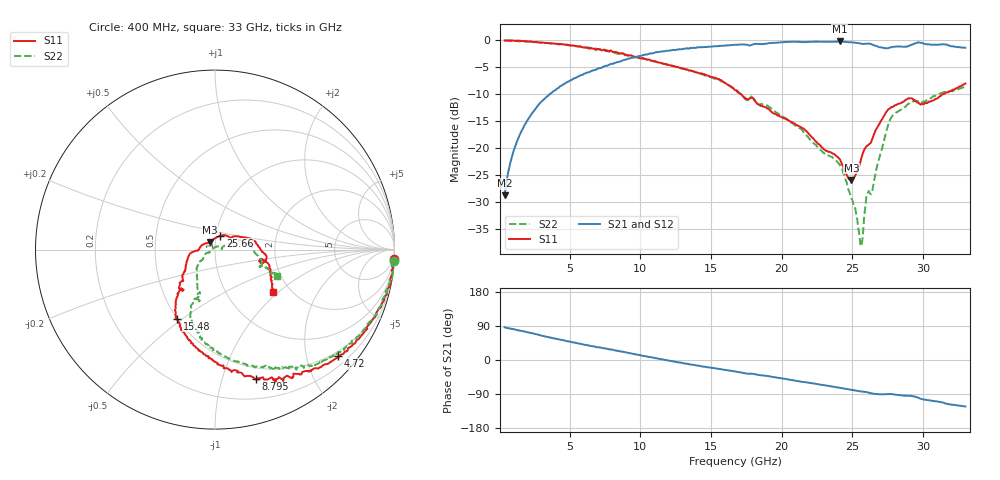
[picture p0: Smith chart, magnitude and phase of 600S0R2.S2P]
!  American Technical Ceramics  Date:  4/26/2005
!  One Norden Lane
!  Huntington Station,  NY.  11746-2102
!  Tel:  (631) 622-4700  Fax:  (631) 622-4748
!  Part Number  600S0R2  Mounting Orientation: Horizontal
!  Description: Ultra Low ESR Microwave capacitors
!  Application: Coupling, Bypass, Tuning, DC Block
!  Filters, Matching
# GHZ S DB R 50
! Freq  |S11|  S11 Ph  |S21|  S21 Ph  |S12|  S12 Ph  |S22|  S22 Ph
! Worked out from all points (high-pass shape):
!   401 points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, 400 MHz to 33 GHz, reference 50 ohm
!   highest |S21| = -0.19 dB at 24.12 GHz (marker M1); lowest = -28.7 dB at 400 MHz (marker M2)
!   |S21| within 3 dB of the highest: 9.488 GHz to end of sweep
!   lowest |S11| = -25.9 dB at 24.93 GHz (marker M3), VSWR 1.11, Z = 47.1 + j3.99 ohm
!   |S11| at or under -10 dB: 17.14 GHz to 31.39 GHz (14.25 GHz wide, 58.7 % of centre)
!   |S22| runs from -38.2 to 0.0 dB; largest |S21 - S12| = 0.016
!   S11 on the Smith chart (normalised r, x): 400 MHz: 1, -36; 4.72 GHz: 0.39, -2.64; 8.795 GHz: 0.38, -1.29; 15.48 GHz: 0.50, -0.48; 25.66 GHz: 1.05, +0.16; 33 GHz: 1.63, -0.91
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0.4  -0.01 -3.1  -28.74 86.4  -28.65 86.2  -0.01 -3.5
1.052  -0.02 -7.8  -20.38 81.0  -20.33 79.7  -0.05 -10.4
1.867  -0.16 -15.2  -15.50 74.8  -15.52 73.4  -0.23 -16.3
3.008  -0.45 -27.3  -11.35 64.0  -11.35 63.5  -0.37 -24.2
4.72  -0.84 -40.8  -7.94 50.2  -7.93 50.5  -0.85 -37.4
5.861  -1.23 -49.6  -6.42 42.1  -6.39 42.3  -1.19 -44.6
8.795  -2.42 -72.7  -3.70 21.6  -3.74 21.2  -2.48 -63.5
11.321  -4.09 -90.4  -2.12 3.2  -2.07 3.5  -4.06 -80.7
15.478  -7.17 -118.8  -1.06 -23.0  -1.08 -22.9  -7.23 -106.2
16.7  -9.23 -128.1  -0.82 -30.3  -0.79 -30.0  -8.94 -112.5
22.161  -18.03 -174.0  -0.22 -61.3  -0.19 -61.5  -18.78 -139.7
24.117  -22.05 162.6  -0.19 -73.3  -0.19 -73.5  -23.12 -150.2
24.932  -25.89 123.7  -0.34 -78.8  -0.32 -79.0  -29.29 -155.4
25.502  -23.17 81.7  -0.53 -82.5  -0.50 -82.2  -36.17 169.4
25.665  -21.62 69.3  -0.60 -83.2  -0.59 -83.3  -37.95 103.6
26.073  -19.52 41.5  -0.58 -85.2  -0.55 -85.3  -28.50 14.4
26.399  -18.35 36.2  -0.76 -88.5  -0.75 -88.3  -28.13 13.8
27.621  -12.69 8.7  -1.35 -89.9  -1.37 -90.0  -15.00 14.1
29.007  -10.69 -9.1  -1.00 -94.0  -1.01 -93.9  -11.73 -11.4
29.659  -11.57 -16.3  -0.36 -99.4  -0.38 -99.4  -11.34 -20.0
31.126  -10.51 -14.0  -0.76 -110.4  -0.76 -110.3  -9.95 -20.4
33  -7.99 -36.1  -1.36 -122.6  -1.37 -122.8  -8.48 -22.6
